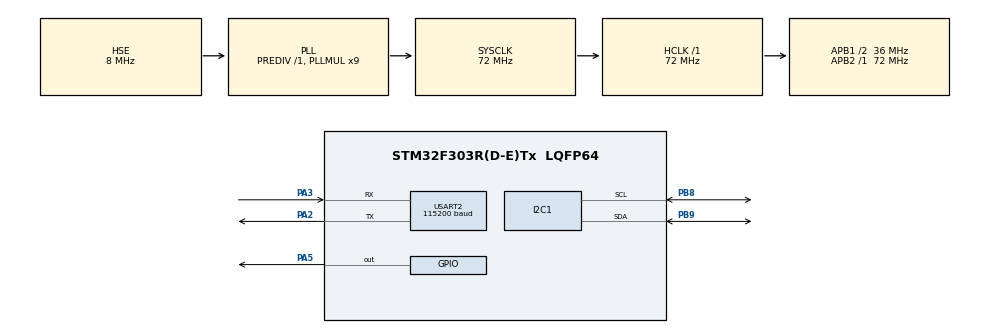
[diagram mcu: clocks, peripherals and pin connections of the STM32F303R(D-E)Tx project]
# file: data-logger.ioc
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ADC1.Channel-1\#ChannelRegularConversion=ADC_CHANNEL_TEMPSENSOR
ADC1.NbrOfConversionFlag=1
ADC1.Offset-1\#ChannelRegularConversion=0
ADC1.OffsetNumber-1\#ChannelRegularConversion=ADC_OFFSET_NONE
ADC1.Rank-1\#ChannelRegularConversion=1
ADC1.SamplingTime-1\#ChannelRegularConversion=ADC_SAMPLETIME_601CYCLES_5
ADC1.SamplingTimeOPAMP-1\#ChannelRegularConversion=ADC_SAMPLETIME_61CYCLES_5
ADC1.master=1
I2C1.Timing=0x00201D2B
Mcu.Family=STM32F3
Mcu.Name=STM32F303R(D-E)Tx
Mcu.Package=LQFP64
NVIC.PriorityGroup=NVIC_PRIORITYGROUP_4
NVIC.TIM6_DAC_IRQn=true\:0\:0\:false\:false\:true\:true\:true\:true
PA13.Mode=Serial_Wire
PA13.Signal=SYS_JTMS-SWDIO
PA14.Mode=Serial_Wire
PA14.Signal=SYS_JTCK-SWCLK
PA2.Mode=Asynchronous
PA2.Signal=USART2_TX
PA3.Mode=Asynchronous
PA3.Signal=USART2_RX
PA5.Signal=GPIO_Output
PB8.Mode=I2C
PB8.Signal=I2C1_SCL
PB9.Mode=I2C
PB9.Signal=I2C1_SDA
PF0-OSC_IN.Mode=HSE-External-Clock-Source
PF0-OSC_IN.Signal=RCC_OSC_IN
ProjectManager.HeapSize=0x200
ProjectManager.StackSize=0x400
ProjectManager.TargetToolchain=STM32CubeIDE
RCC.AHBFreq_Value=72000000
RCC.APB1CLKDivider=RCC_HCLK_DIV2
RCC.APB1Freq_Value=36000000
RCC.APB1TimFreq_Value=72000000
RCC.APB2Freq_Value=72000000
RCC.APB2TimFreq_Value=72000000
RCC.CortexFreq_Value=72000000
RCC.HCLKFreq_Value=72000000
RCC.HSE_VALUE=8000000
RCC.HSI_VALUE=8000000
RCC.LSE_VALUE=32768
RCC.PLLMUL=RCC_PLL_MUL9
RCC.PLLSourceVirtual=RCC_PLLSOURCE_HSE
RCC.SYSCLKFreq_VALUE=72000000
RCC.SYSCLKSourceVirtual=RCC_SYSCLKSOURCE_PLLCLK
RCC.USBFreq_Value=72000000
TIM6.Period=10000-1
TIM6.Prescaler=7200-1
USART2.BaudRate=115200
USART2.VirtualMode-Asynchronous=VM_ASYNC
VP_ADC1_TempSens_Input.Mode=IN-TempSens
VP_TIM6_VS_ClockSourceINT.Mode=Enable_Timer
board=custom

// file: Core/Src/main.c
/* USER CODE BEGIN Header */
/**
  ******************************************************************************
  * @file           : main.c
  * @brief          : Main program body
  ******************************************************************************
  * @attention
  *
  * Copyright (c) 2026 STMicroelectronics.
  * All rights reserved.
  *
  * This software is licensed under terms that can be found in the LICENSE file
  * in the root directory of this software component.
  * If no LICENSE file comes with this software, it is provided AS-IS.
  *
  ******************************************************************************
  */
/* USER CODE END Header */
#include "main.h"

/* USER CODE BEGIN Includes */
#include <stdio.h>
#include <stdint.h>
#include <string.h>
#include <stdlib.h>
#include <time.h>
/* USER CODE END Includes */

/* USER CODE BEGIN PD */

#define TS_CAL1 0x1FFFF7B8
#define TS_CAL2 0x1FFFF7C2

/* USER CODE END PD */

ADC_HandleTypeDef hadc1;

I2C_HandleTypeDef hi2c1;

TIM_HandleTypeDef htim6;

UART_HandleTypeDef huart2;

void SystemClock_Config(void);
static void MX_GPIO_Init(void);
static void MX_TIM6_Init(void);
static void MX_ADC1_Init(void);
static void MX_USART2_UART_Init(void);
static void MX_I2C1_Init(void);

/* USER CODE BEGIN 0 */

volatile uint8_t tick = 1;

/* USER CODE END 0 */

int main(void)
{

  /* MCU Configuration--------------------------------------------------------*/

  /* Reset of all peripherals, Initializes the Flash interface and the Systick. */
  HAL_Init();

  /* Configure the system clock */
  SystemClock_Config();

  /* Initialize all configured peripherals */
  MX_GPIO_Init();
  MX_TIM6_Init();
  MX_ADC1_Init();
  MX_USART2_UART_Init();
  MX_I2C1_Init();
  /* USER CODE BEGIN 2 */

  // raw data at 30 and 110 degrees
  // uint16_t ts_cal1 = *(__IO uint16_t *)TS_CAL1;
  // uint16_t ts_cal2 = *(__IO uint16_t *)TS_CAL2;

  	 HAL_TIM_Base_Start_IT(&htim6);

  	 uint16_t ts_cal1 = *(__IO uint16_t *)TS_CAL1, raw;
  	 uint16_t ts_cal2 = *(__IO uint16_t *)TS_CAL2;

  	 float temp, slope, hum, pres;
  	 slope = (110.f - 30.f) / (float) (ts_cal2 - ts_cal1); // c/adc_value
  	 char temp_s[50];

  	 srand((unsigned) time(NULL));

  /* USER CODE END 2 */

  /* Infinite loop */
  /* USER CODE BEGIN WHILE */

  uint16_t a = 0;
  char b[20];
  const uint8_t c[] = "-";

  while(a < 127)
  {
	  if (HAL_I2C_IsDeviceReady(&hi2c1, a << 1, 1, 1000) == HAL_OK){
		  sprintf(b, "\ndevadd : %#x\n", a);
		  HAL_UART_Transmit(&huart2, b, 16, 1000);
		  break;
	  } else {
		  HAL_UART_Transmit(&huart2, c, 1, 1000);
	  }
	  a++;
	  HAL_Delay(10);
  }

  uint8_t sensortype[1];
  uint8_t s[25];
  uint8_t ss[20] = {0};
  uint8_t bme280 = 96;
  uint8_t bmp280 = 88;

  HAL_I2C_Mem_Read(&hi2c1, 0x76 << 1, 0xD0, I2C_MEMADD_SIZE_8BIT, sensortype, 1, 1000);

  if (memcmp(sensortype, &bme280, sizeof(*sensortype)) == 0){
	  snprintf((char *)s,25 ,"Your chip is BME280!\n");
  } else if (memcmp(sensortype, &bmp280, sizeof(*sensortype)) == 0){
	  snprintf((char *)s,25,"Your chip is BMP280!\n");
  } else {
	  snprintf((char *)s,25, "Unknown chip id!\n");
  }

  sprintf((char *)ss, "chip id : %#x\n", *sensortype);
  HAL_UART_Transmit(&huart2, ss, strlen((char *)ss), 1000);
  HAL_UART_Transmit(&huart2, s, strlen((char *)s), 1000);

  while (1)
  {
	  if (tick == 2){
		  tick = 0;
		  HAL_ADC_Start(&hadc1);
		  HAL_ADC_PollForConversion(&hadc1, 1000);
		  raw = HAL_ADC_GetValue(&hadc1);
		  temp = slope * ((float) raw - ts_cal1) + 30.f;
		  hum = rand() % 20;
		  pres = rand() % 40;
		  sprintf(temp_s, "temp=%.2f,hum=%.2f,pres=%.2f\n", temp,hum,pres);
		  HAL_UART_Transmit(&huart2, (uint8_t *) temp_s, strlen(temp_s), 1000);
		  HAL_ADC_Stop(&hadc1);

	  }

    /* USER CODE END WHILE */

  }
}

void SystemClock_Config(void)
{
  RCC_OscInitTypeDef RCC_OscInitStruct = {0};
  RCC_ClkInitTypeDef RCC_ClkInitStruct = {0};
  RCC_PeriphCLKInitTypeDef PeriphClkInit = {0};

  /** Initializes the RCC Oscillators according to the specified parameters
  * in the RCC_OscInitTypeDef structure.
  */
  RCC_OscInitStruct.OscillatorType = RCC_OSCILLATORTYPE_HSI|RCC_OSCILLATORTYPE_HSE;
  RCC_OscInitStruct.HSEState = RCC_HSE_BYPASS;
  RCC_OscInitStruct.HSIState = RCC_HSI_ON;
  RCC_OscInitStruct.HSICalibrationValue = RCC_HSICALIBRATION_DEFAULT;
  RCC_OscInitStruct.PLL.PLLState = RCC_PLL_ON;
  RCC_OscInitStruct.PLL.PLLSource = RCC_PLLSOURCE_HSE;
  RCC_OscInitStruct.PLL.PLLMUL = RCC_PLL_MUL9;
  RCC_OscInitStruct.PLL.PREDIV = RCC_PREDIV_DIV1;
  if (HAL_RCC_OscConfig(&RCC_OscInitStruct) != HAL_OK)
  {
    Error_Handler();
  }

  /** Initializes the CPU, AHB and APB buses clocks
  */
  RCC_ClkInitStruct.ClockType = RCC_CLOCKTYPE_HCLK|RCC_CLOCKTYPE_SYSCLK
                              |RCC_CLOCKTYPE_PCLK1|RCC_CLOCKTYPE_PCLK2;
  RCC_ClkInitStruct.SYSCLKSource = RCC_SYSCLKSOURCE_PLLCLK;
  RCC_ClkInitStruct.AHBCLKDivider = RCC_SYSCLK_DIV1;
  RCC_ClkInitStruct.APB1CLKDivider = RCC_HCLK_DIV2;
  RCC_ClkInitStruct.APB2CLKDivider = RCC_HCLK_DIV1;

  if (HAL_RCC_ClockConfig(&RCC_ClkInitStruct, FLASH_LATENCY_2) != HAL_OK)
  {
    Error_Handler();
  }
  PeriphClkInit.PeriphClockSelection = RCC_PERIPHCLK_USART2|RCC_PERIPHCLK_I2C1
                              |RCC_PERIPHCLK_ADC12;
  PeriphClkInit.Usart2ClockSelection = RCC_USART2CLKSOURCE_PCLK1;
  PeriphClkInit.Adc12ClockSelection = RCC_ADC12PLLCLK_DIV1;
  PeriphClkInit.I2c1ClockSelection = RCC_I2C1CLKSOURCE_HSI;
  if (HAL_RCCEx_PeriphCLKConfig(&PeriphClkInit) != HAL_OK)
  {
    Error_Handler();
  }
}

static void MX_ADC1_Init(void)
{

  ADC_MultiModeTypeDef multimode = {0};
  ADC_ChannelConfTypeDef sConfig = {0};

  /** Common config
  */
  hadc1.Instance = ADC1;
  hadc1.Init.ClockPrescaler = ADC_CLOCK_ASYNC_DIV1;
  hadc1.Init.Resolution = ADC_RESOLUTION_12B;
  hadc1.Init.ScanConvMode = ADC_SCAN_DISABLE;
  hadc1.Init.ContinuousConvMode = DISABLE;
  hadc1.Init.DiscontinuousConvMode = DISABLE;
  hadc1.Init.ExternalTrigConvEdge = ADC_EXTERNALTRIGCONVEDGE_NONE;
  hadc1.Init.ExternalTrigConv = ADC_SOFTWARE_START;
  hadc1.Init.DataAlign = ADC_DATAALIGN_RIGHT;
  hadc1.Init.NbrOfConversion = 1;
  hadc1.Init.DMAContinuousRequests = DISABLE;
  hadc1.Init.EOCSelection = ADC_EOC_SINGLE_CONV;
  hadc1.Init.LowPowerAutoWait = DISABLE;
  hadc1.Init.Overrun = ADC_OVR_DATA_OVERWRITTEN;
  if (HAL_ADC_Init(&hadc1) != HAL_OK)
  {
    Error_Handler();
  }

  /** Configure the ADC multi-mode
  */
  multimode.Mode = ADC_MODE_INDEPENDENT;
  if (HAL_ADCEx_MultiModeConfigChannel(&hadc1, &multimode) != HAL_OK)
  {
    Error_Handler();
  }

  /** Configure Regular Channel
  */
  sConfig.Channel = ADC_CHANNEL_TEMPSENSOR;
  sConfig.Rank = ADC_REGULAR_RANK_1;
  sConfig.SingleDiff = ADC_SINGLE_ENDED;
  sConfig.SamplingTime = ADC_SAMPLETIME_601CYCLES_5;
  sConfig.OffsetNumber = ADC_OFFSET_NONE;
  sConfig.Offset = 0;
  if (HAL_ADC_ConfigChannel(&hadc1, &sConfig) != HAL_OK)
  {
    Error_Handler();
  }

}

static void MX_I2C1_Init(void)
{

  hi2c1.Instance = I2C1;
  hi2c1.Init.Timing = 0x00201D2B;
  hi2c1.Init.OwnAddress1 = 0;
  hi2c1.Init.AddressingMode = I2C_ADDRESSINGMODE_7BIT;
  hi2c1.Init.DualAddressMode = I2C_DUALADDRESS_DISABLE;
  hi2c1.Init.OwnAddress2 = 0;
  hi2c1.Init.OwnAddress2Masks = I2C_OA2_NOMASK;
  hi2c1.Init.GeneralCallMode = I2C_GENERALCALL_DISABLE;
  hi2c1.Init.NoStretchMode = I2C_NOSTRETCH_DISABLE;
  if (HAL_I2C_Init(&hi2c1) != HAL_OK)
  {
    Error_Handler();
  }

  /** Configure Analogue filter
  */
  if (HAL_I2CEx_ConfigAnalogFilter(&hi2c1, I2C_ANALOGFILTER_ENABLE) != HAL_OK)
  {
    Error_Handler();
  }

  /** Configure Digital filter
  */
  if (HAL_I2CEx_ConfigDigitalFilter(&hi2c1, 0) != HAL_OK)
  {
    Error_Handler();
  }

}

static void MX_TIM6_Init(void)
{

  TIM_MasterConfigTypeDef sMasterConfig = {0};

  htim6.Instance = TIM6;
  htim6.Init.Prescaler = 7200-1;
  htim6.Init.CounterMode = TIM_COUNTERMODE_UP;
  htim6.Init.Period = 10000-1;
  htim6.Init.AutoReloadPreload = TIM_AUTORELOAD_PRELOAD_DISABLE;
  if (HAL_TIM_Base_Init(&htim6) != HAL_OK)
  {
    Error_Handler();
  }
  sMasterConfig.MasterOutputTrigger = TIM_TRGO_RESET;
  sMasterConfig.MasterSlaveMode = TIM_MASTERSLAVEMODE_DISABLE;
  if (HAL_TIMEx_MasterConfigSynchronization(&htim6, &sMasterConfig) != HAL_OK)
  {
    Error_Handler();
  }

}

static void MX_USART2_UART_Init(void)
{

  huart2.Instance = USART2;
  huart2.Init.BaudRate = 115200;
  huart2.Init.WordLength = UART_WORDLENGTH_8B;
  huart2.Init.StopBits = UART_STOPBITS_1;
  huart2.Init.Parity = UART_PARITY_NONE;
  huart2.Init.Mode = UART_MODE_TX_RX;
  huart2.Init.HwFlowCtl = UART_HWCONTROL_NONE;
  huart2.Init.OverSampling = UART_OVERSAMPLING_16;
  huart2.Init.OneBitSampling = UART_ONE_BIT_SAMPLE_DISABLE;
  huart2.AdvancedInit.AdvFeatureInit = UART_ADVFEATURE_NO_INIT;
  if (HAL_UART_Init(&huart2) != HAL_OK)
  {
    Error_Handler();
  }

}

static void MX_GPIO_Init(void)
{
  GPIO_InitTypeDef GPIO_InitStruct = {0};

  /* GPIO Ports Clock Enable */
  __HAL_RCC_GPIOF_CLK_ENABLE();
  __HAL_RCC_GPIOA_CLK_ENABLE();
  __HAL_RCC_GPIOB_CLK_ENABLE();

  /*Configure GPIO pin Output Level */
  HAL_GPIO_WritePin(GPIOA, GPIO_PIN_5, GPIO_PIN_RESET);

  /*Configure GPIO pin : PA5 */
  GPIO_InitStruct.Pin = GPIO_PIN_5;
  GPIO_InitStruct.Mode = GPIO_MODE_OUTPUT_PP;
  GPIO_InitStruct.Pull = GPIO_NOPULL;
  GPIO_InitStruct.Speed = GPIO_SPEED_FREQ_LOW;
  HAL_GPIO_Init(GPIOA, &GPIO_InitStruct);

}

/* USER CODE BEGIN 4 */

void HAL_TIM_PeriodElapsedCallback(TIM_HandleTypeDef *htim){
	HAL_GPIO_TogglePin(GPIOA, GPIO_PIN_5);
	tick = 1;
}
/* USER CODE END 4 */

void Error_Handler(void)
{
  __disable_irq();
  while (1)
  {
  }
}
